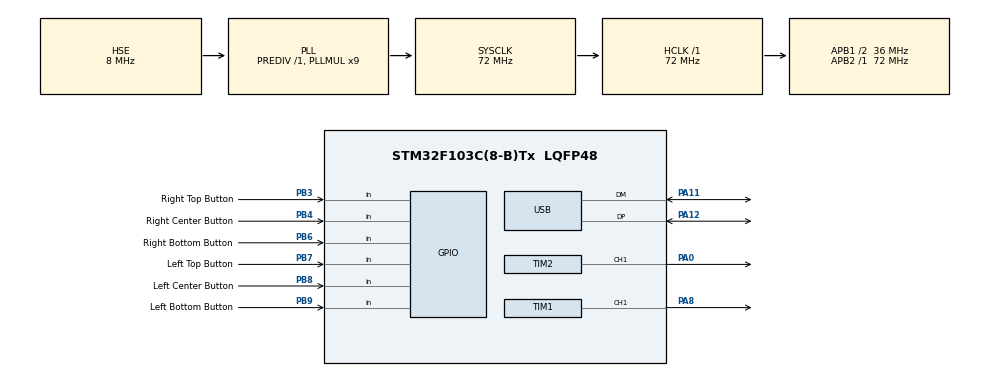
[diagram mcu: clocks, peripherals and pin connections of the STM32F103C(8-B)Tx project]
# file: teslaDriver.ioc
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Mcu.Family=STM32F1
Mcu.Name=STM32F103C(8-B)Tx
Mcu.Package=LQFP48
NVIC.PriorityGroup=NVIC_PRIORITYGROUP_4
NVIC.TIM1_UP_IRQn=true\:0\:0\:false\:false\:true\:true
NVIC.USB_LP_CAN1_RX0_IRQn=true\:0\:0\:false\:false\:true\:false
PA0-WKUP.Signal=S_TIM2_CH1_ETR
PA11.Mode=Device
PA11.Signal=USB_DM
PA12.Mode=Device
PA12.Signal=USB_DP
PA13.Mode=Serial_Wire
PA13.Signal=SYS_JTMS-SWDIO
PA14.Mode=Serial_Wire
PA14.Signal=SYS_JTCK-SWCLK
PA8.GPIO_Speed=GPIO_SPEED_FREQ_HIGH
PA8.Signal=S_TIM1_CH1
PB3.GPIO_Label=Right Top Button
PB3.GPIO_PuPd=GPIO_PULLUP
PB3.Signal=GPIO_Input
PB4.GPIO_Label=Right Center Button
PB4.GPIO_PuPd=GPIO_PULLUP
PB4.Signal=GPIO_Input
PB6.GPIO_Label=Right Bottom Button
PB6.GPIO_PuPd=GPIO_PULLUP
PB6.Signal=GPIO_Input
PB7.GPIO_Label=Left Top Button
PB7.GPIO_PuPd=GPIO_PULLUP
PB7.Signal=GPIO_Input
PB8.GPIO_Label=Left Center Button
PB8.GPIO_PuPd=GPIO_PULLUP
PB8.Signal=GPIO_Input
PB9.GPIO_Label=Left Bottom Button
PB9.GPIO_PuPd=GPIO_PULLUP
PB9.Signal=GPIO_Input
PD0-OSC_IN.Mode=HSE-External-Oscillator
PD0-OSC_IN.Signal=RCC_OSC_IN
PD1-OSC_OUT.Mode=HSE-External-Oscillator
PD1-OSC_OUT.Signal=RCC_OSC_OUT
ProjectManager.HeapSize=0x200
ProjectManager.StackSize=0x400
ProjectManager.TargetToolchain=MDK-ARM V5
RCC.AHBFreq_Value=72000000
RCC.APB1CLKDivider=RCC_HCLK_DIV2
RCC.APB1Freq_Value=36000000
RCC.APB1TimFreq_Value=72000000
RCC.APB2Freq_Value=72000000
RCC.APB2TimFreq_Value=72000000
RCC.HCLKFreq_Value=72000000
RCC.PLLMUL=RCC_PLL_MUL9
RCC.PLLSourceVirtual=RCC_PLLSOURCE_HSE
RCC.SYSCLKFreq_VALUE=72000000
RCC.SYSCLKSource=RCC_SYSCLKSOURCE_PLLCLK
RCC.USBFreq_Value=48000000
RCC.USBPrescaler=RCC_USBCLKSOURCE_PLL_DIV1_5
SH.S_TIM1_CH1.0=TIM1_CH1,PWM Generation1 CH1
SH.S_TIM2_CH1_ETR.0=TIM2_CH1,PWM Generation1 CH1
TIM1.Channel-PWM\ Generation1\ CH1=TIM_CHANNEL_1
TIM1.OCFastMode_PWM-PWM\ Generation1\ CH1=TIM_OCFAST_ENABLE
TIM1.Period=3600
TIM1.Prescaler=0
TIM1.Pulse-PWM\ Generation1\ CH1=0
TIM2.Channel-PWM\ Generation1\ CH1=TIM_CHANNEL_1
TIM2.OCFastMode_PWM-PWM\ Generation1\ CH1=TIM_OCFAST_ENABLE
TIM2.Period=27
TIM2.Pulse-PWM\ Generation1\ CH1=13
USB_DEVICE.CLASS_NAME_FS=CDC
USB_DEVICE.VirtualMode=Cdc
USB_DEVICE.VirtualModeFS=Cdc_FS
VP_USB_DEVICE_VS_USB_DEVICE_CDC_FS.Mode=CDC_FS
board=custom

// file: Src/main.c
/**
  ******************************************************************************
  * @file           : main.c
  * @brief          : Main program body
  ******************************************************************************
  * This notice applies to any and all portions of this file
  * that are not between comment pairs USER CODE BEGIN and
  * USER CODE END. Other portions of this file, whether
  * inserted by the user or by software development tools
  * are owned by their respective copyright owners.
  *
  * Copyright (c) 2019 STMicroelectronics International N.V.
  * All rights reserved.
  *
  * Redistribution and use in source and binary forms, with or without
  * modification, are permitted, provided that the following conditions are met:
  *
  * 1. Redistribution of source code must retain the above copyright notice,
  *    this list of conditions and the following disclaimer.
  * 2. Redistributions in binary form must reproduce the above copyright notice,
  *    this list of conditions and the following disclaimer in the documentation
  *    and/or other materials provided with the distribution.
  * 3. Neither the name of STMicroelectronics nor the names of other
  *    contributors to this software may be used to endorse or promote products
  *    derived from this software without specific written permission.
  * 4. This software, including modifications and/or derivative works of this
  *    software, must execute solely and exclusively on microcontroller or
  *    microprocessor devices manufactured by or for STMicroelectronics.
  * 5. Redistribution and use of this software other than as permitted under
  *    this license is void and will automatically terminate your rights under
  *    this license.
  *
  * THIS SOFTWARE IS PROVIDED BY STMICROELECTRONICS AND CONTRIBUTORS "AS IS"
  * AND ANY EXPRESS, IMPLIED OR STATUTORY WARRANTIES, INCLUDING, BUT NOT
  * LIMITED TO, THE IMPLIED WARRANTIES OF MERCHANTABILITY, FITNESS FOR A
  * PARTICULAR PURPOSE AND NON-INFRINGEMENT OF THIRD PARTY INTELLECTUAL PROPERTY
  * RIGHTS ARE DISCLAIMED TO THE FULLEST EXTENT PERMITTED BY LAW. IN NO EVENT
  * SHALL STMICROELECTRONICS OR CONTRIBUTORS BE LIABLE FOR ANY DIRECT, INDIRECT,
  * INCIDENTAL, SPECIAL, EXEMPLARY, OR CONSEQUENTIAL DAMAGES (INCLUDING, BUT NOT
  * LIMITED TO, PROCUREMENT OF SUBSTITUTE GOODS OR SERVICES; LOSS OF USE, DATA,
  * OR PROFITS; OR BUSINESS INTERRUPTION) HOWEVER CAUSED AND ON ANY THEORY OF
  * LIABILITY, WHETHER IN CONTRACT, STRICT LIABILITY, OR TORT (INCLUDING
  * NEGLIGENCE OR OTHERWISE) ARISING IN ANY WAY OUT OF THE USE OF THIS SOFTWARE,
  * EVEN IF ADVISED OF THE POSSIBILITY OF SUCH DAMAGE.
  *
  ******************************************************************************
  */
#include "main.h"
#include "stm32f1xx_hal.h"
#include "usb_device.h"

/* USER CODE BEGIN Includes */
#include "globals.h"
/* USER CODE END Includes */

TIM_HandleTypeDef htim1;
TIM_HandleTypeDef htim2;

/* USER CODE BEGIN PV */
/* Private variables ---------------------------------------------------------*/

/* USER CODE END PV */

void SystemClock_Config(void);
static void MX_GPIO_Init(void);
static void MX_TIM1_Init(void);
static void MX_TIM2_Init(void);
void HAL_TIM_MspPostInit(TIM_HandleTypeDef *htim);

/* USER CODE BEGIN PFP */
/* Private function prototypes -----------------------------------------------*/

/* USER CODE END PFP */

/* USER CODE BEGIN 0 */
int periodLimitLow = 144; //500khz 72;     //1 MHz
int periodLimitHigh = 250; //500  kHz
const int periodReset = 216;

const int maxPower = 64;
const int powerStep = 2;
const int powerReset = 2;

volatile int period = periodReset;
volatile int volume = powerReset;
unsigned int buttonInput = 0xffffffff;
unsigned int oldButtonInput = 0xffffffff;

void handleButtons(void){
	buttonInput = GPIOB->IDR;
	oldButtonInput = buttonInput^oldButtonInput; //get change in buttons

	if(oldButtonInput & GPIO_PIN_9){ //if difference on left bottom button
		if(buttonInput & GPIO_PIN_9){ //if released

		} else { //pressed
			period -= 1;
		}
	}

	if(oldButtonInput & GPIO_PIN_8){ //if difference on left center button
		if(buttonInput & GPIO_PIN_8){ //if released

		} else { //pressed
			period = periodReset;
		}
	}

	if(oldButtonInput & GPIO_PIN_7){ //if difference on left top button
		if(buttonInput & GPIO_PIN_7){ //if released

		} else { //pressed
			period += 1;
		}
	}

	if(oldButtonInput & GPIO_PIN_6){ //if difference on left bottom button
		if(buttonInput & GPIO_PIN_6){ //if released

		} else { //pressed
			if(volume - powerStep > 0){volume -= powerStep;}
			else{volume = 0;}
		}
	}

	if(oldButtonInput & GPIO_PIN_4){ //if difference on left center button
		if(buttonInput & GPIO_PIN_4){ //if released

		} else { //pressed
			volume = powerReset;
		}
	}

	if(oldButtonInput & GPIO_PIN_3){ //if difference on left top button
		if(buttonInput & GPIO_PIN_3){ //if released

		} else { //pressed
			if(volume+powerStep <= maxPower){volume += powerStep;}
			else{volume = maxPower;}
		}
	}

	oldButtonInput = buttonInput;

	//limit period
	if(period < periodLimitLow){period = periodLimitLow;}
	else if(period > periodLimitHigh){period = periodLimitHigh;}

	//set period and power in stm32f1xx_it
	TIM2->ARR = period;
	TIM2->CCR1 = period/2;
}

//void HAL_TIM_PeriodElapsedCallback(TIM_HandleTypeDef *htim){
//	if(htim->Instance == TIM1){
//		period--;
//	}
//}

/* USER CODE END 0 */

int main(void)
{

  /* MCU Configuration----------------------------------------------------------*/

  /* Reset of all peripherals, Initializes the Flash interface and the Systick. */
  HAL_Init();

  /* Configure the system clock */
  SystemClock_Config();

  /* Initialize all configured peripherals */
  MX_GPIO_Init();
  MX_TIM1_Init();
  MX_USB_DEVICE_Init();
  MX_TIM2_Init();
  /* USER CODE BEGIN 2 */

	//__HAL_TIM_SET_COMPARE(&htim1, TIM_CHANNEL_1, 5); //set duty cycle
	TIM1->PSC = 0;
	TIM1->ARR = 3600; //60000;//300hz //3600; //20khz
	TIM1->CCR1 = 0;
	TIM1->CCR2 = 0; //keep audio off at startup
	__HAL_TIM_ENABLE_IT(&htim1, TIM_IT_UPDATE );
	HAL_TIM_PWM_Start(&htim1, TIM_CHANNEL_1);    //starts PWM on CH1 tim1 pin
	HAL_TIM_PWM_Start(&htim2, TIM_CHANNEL_1);    //starts PWM on CH1 tim2 pin

  /* USER CODE END 2 */

  /* Infinite loop */
  /* USER CODE BEGIN WHILE */

	int delay;
	for(int i = 0; i<musicSamples; i += 1){
		for(int j = 0; j<64; j++){musicBuffer[i][j] = 255;}
		//musicBuffer[i][0] = 255;
	}
  while (1)
  {
		delay = 10000;
		while(delay--){};
		handleButtons();
  /* USER CODE END WHILE */

  }

}

void SystemClock_Config(void)
{

  RCC_OscInitTypeDef RCC_OscInitStruct;
  RCC_ClkInitTypeDef RCC_ClkInitStruct;
  RCC_PeriphCLKInitTypeDef PeriphClkInit;

    /**Initializes the CPU, AHB and APB busses clocks
    */
  RCC_OscInitStruct.OscillatorType = RCC_OSCILLATORTYPE_HSE;
  RCC_OscInitStruct.HSEState = RCC_HSE_ON;
  RCC_OscInitStruct.HSEPredivValue = RCC_HSE_PREDIV_DIV1;
  RCC_OscInitStruct.HSIState = RCC_HSI_ON;
  RCC_OscInitStruct.PLL.PLLState = RCC_PLL_ON;
  RCC_OscInitStruct.PLL.PLLSource = RCC_PLLSOURCE_HSE;
  RCC_OscInitStruct.PLL.PLLMUL = RCC_PLL_MUL9;
  if (HAL_RCC_OscConfig(&RCC_OscInitStruct) != HAL_OK)
  {
    _Error_Handler(__FILE__, __LINE__);
  }

    /**Initializes the CPU, AHB and APB busses clocks
    */
  RCC_ClkInitStruct.ClockType = RCC_CLOCKTYPE_HCLK|RCC_CLOCKTYPE_SYSCLK
                              |RCC_CLOCKTYPE_PCLK1|RCC_CLOCKTYPE_PCLK2;
  RCC_ClkInitStruct.SYSCLKSource = RCC_SYSCLKSOURCE_PLLCLK;
  RCC_ClkInitStruct.AHBCLKDivider = RCC_SYSCLK_DIV1;
  RCC_ClkInitStruct.APB1CLKDivider = RCC_HCLK_DIV2;
  RCC_ClkInitStruct.APB2CLKDivider = RCC_HCLK_DIV1;

  if (HAL_RCC_ClockConfig(&RCC_ClkInitStruct, FLASH_LATENCY_2) != HAL_OK)
  {
    _Error_Handler(__FILE__, __LINE__);
  }

  PeriphClkInit.PeriphClockSelection = RCC_PERIPHCLK_USB;
  PeriphClkInit.UsbClockSelection = RCC_USBCLKSOURCE_PLL_DIV1_5;
  if (HAL_RCCEx_PeriphCLKConfig(&PeriphClkInit) != HAL_OK)
  {
    _Error_Handler(__FILE__, __LINE__);
  }

    /**Configure the Systick interrupt time
    */
  HAL_SYSTICK_Config(HAL_RCC_GetHCLKFreq()/1000);

    /**Configure the Systick
    */
  HAL_SYSTICK_CLKSourceConfig(SYSTICK_CLKSOURCE_HCLK);

  /* SysTick_IRQn interrupt configuration */
  HAL_NVIC_SetPriority(SysTick_IRQn, 0, 0);
}

/* TIM1 init function */
static void MX_TIM1_Init(void)
{

  TIM_MasterConfigTypeDef sMasterConfig;
  TIM_OC_InitTypeDef sConfigOC;
  TIM_BreakDeadTimeConfigTypeDef sBreakDeadTimeConfig;

  htim1.Instance = TIM1;
  htim1.Init.Prescaler = 0;
  htim1.Init.CounterMode = TIM_COUNTERMODE_UP;
  htim1.Init.Period = 3600;
  htim1.Init.ClockDivision = TIM_CLOCKDIVISION_DIV1;
  htim1.Init.RepetitionCounter = 0;
  htim1.Init.AutoReloadPreload = TIM_AUTORELOAD_PRELOAD_DISABLE;
  if (HAL_TIM_PWM_Init(&htim1) != HAL_OK)
  {
    _Error_Handler(__FILE__, __LINE__);
  }

  sMasterConfig.MasterOutputTrigger = TIM_TRGO_RESET;
  sMasterConfig.MasterSlaveMode = TIM_MASTERSLAVEMODE_DISABLE;
  if (HAL_TIMEx_MasterConfigSynchronization(&htim1, &sMasterConfig) != HAL_OK)
  {
    _Error_Handler(__FILE__, __LINE__);
  }

  sConfigOC.OCMode = TIM_OCMODE_PWM1;
  sConfigOC.Pulse = 0;
  sConfigOC.OCPolarity = TIM_OCPOLARITY_HIGH;
  sConfigOC.OCNPolarity = TIM_OCNPOLARITY_HIGH;
  sConfigOC.OCFastMode = TIM_OCFAST_ENABLE;
  sConfigOC.OCIdleState = TIM_OCIDLESTATE_RESET;
  sConfigOC.OCNIdleState = TIM_OCNIDLESTATE_RESET;
  if (HAL_TIM_PWM_ConfigChannel(&htim1, &sConfigOC, TIM_CHANNEL_1) != HAL_OK)
  {
    _Error_Handler(__FILE__, __LINE__);
  }

  sBreakDeadTimeConfig.OffStateRunMode = TIM_OSSR_DISABLE;
  sBreakDeadTimeConfig.OffStateIDLEMode = TIM_OSSI_DISABLE;
  sBreakDeadTimeConfig.LockLevel = TIM_LOCKLEVEL_OFF;
  sBreakDeadTimeConfig.DeadTime = 0;
  sBreakDeadTimeConfig.BreakState = TIM_BREAK_DISABLE;
  sBreakDeadTimeConfig.BreakPolarity = TIM_BREAKPOLARITY_HIGH;
  sBreakDeadTimeConfig.AutomaticOutput = TIM_AUTOMATICOUTPUT_DISABLE;
  if (HAL_TIMEx_ConfigBreakDeadTime(&htim1, &sBreakDeadTimeConfig) != HAL_OK)
  {
    _Error_Handler(__FILE__, __LINE__);
  }

  HAL_TIM_MspPostInit(&htim1);

}

/* TIM2 init function */
static void MX_TIM2_Init(void)
{

  TIM_MasterConfigTypeDef sMasterConfig;
  TIM_OC_InitTypeDef sConfigOC;

  htim2.Instance = TIM2;
  htim2.Init.Prescaler = 0;
  htim2.Init.CounterMode = TIM_COUNTERMODE_UP;
  htim2.Init.Period = 27;
  htim2.Init.ClockDivision = TIM_CLOCKDIVISION_DIV1;
  htim2.Init.AutoReloadPreload = TIM_AUTORELOAD_PRELOAD_DISABLE;
  if (HAL_TIM_PWM_Init(&htim2) != HAL_OK)
  {
    _Error_Handler(__FILE__, __LINE__);
  }

  sMasterConfig.MasterOutputTrigger = TIM_TRGO_RESET;
  sMasterConfig.MasterSlaveMode = TIM_MASTERSLAVEMODE_DISABLE;
  if (HAL_TIMEx_MasterConfigSynchronization(&htim2, &sMasterConfig) != HAL_OK)
  {
    _Error_Handler(__FILE__, __LINE__);
  }

  sConfigOC.OCMode = TIM_OCMODE_PWM1;
  sConfigOC.Pulse = 13;
  sConfigOC.OCPolarity = TIM_OCPOLARITY_HIGH;
  sConfigOC.OCFastMode = TIM_OCFAST_ENABLE;
  if (HAL_TIM_PWM_ConfigChannel(&htim2, &sConfigOC, TIM_CHANNEL_1) != HAL_OK)
  {
    _Error_Handler(__FILE__, __LINE__);
  }

  HAL_TIM_MspPostInit(&htim2);

}

/** Configure pins as
        * Analog
        * Input
        * Output
        * EVENT_OUT
        * EXTI
*/
static void MX_GPIO_Init(void)
{

  GPIO_InitTypeDef GPIO_InitStruct;

  /* GPIO Ports Clock Enable */
  __HAL_RCC_GPIOD_CLK_ENABLE();
  __HAL_RCC_GPIOA_CLK_ENABLE();
  __HAL_RCC_GPIOB_CLK_ENABLE();

  /*Configure GPIO pins : Right_Top_Button_Pin Right_Center_Button_Pin Right_Bottom_Button_Pin Left_Top_Button_Pin
                           Left_Center_Button_Pin Left_Bottom_Button_Pin */
  GPIO_InitStruct.Pin = Right_Top_Button_Pin|Right_Center_Button_Pin|Right_Bottom_Button_Pin|Left_Top_Button_Pin
                          |Left_Center_Button_Pin|Left_Bottom_Button_Pin;
  GPIO_InitStruct.Mode = GPIO_MODE_INPUT;
  GPIO_InitStruct.Pull = GPIO_PULLUP;
  HAL_GPIO_Init(GPIOB, &GPIO_InitStruct);

}

void _Error_Handler(char *file, int line)
{
  while(1)
  {
  }
}

/************************ (C) COPYRIGHT STMicroelectronics *****END OF FILE****/
